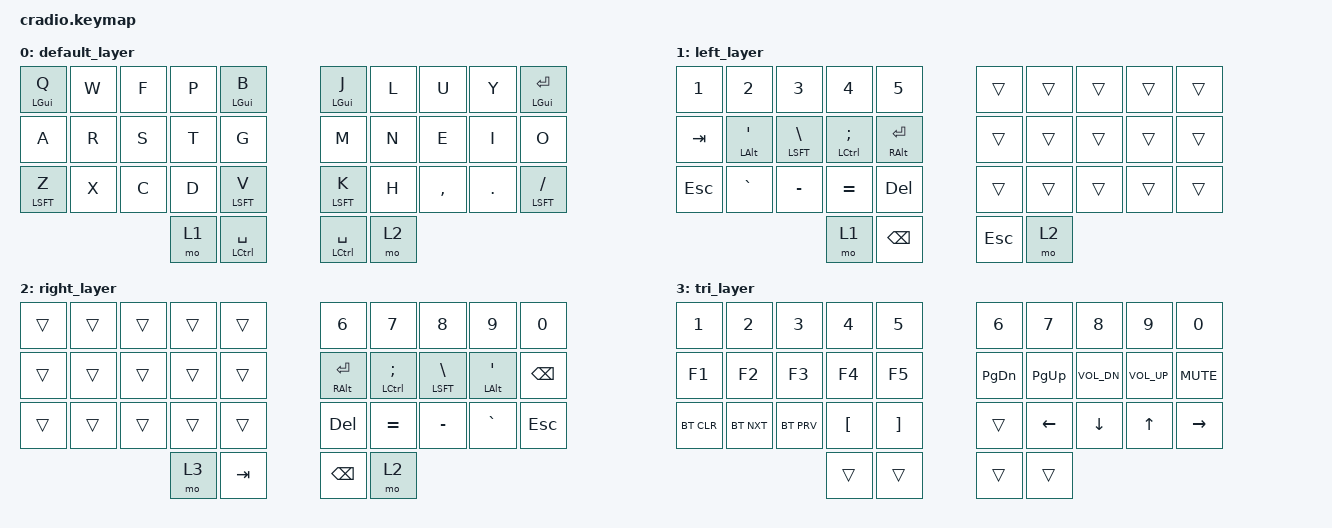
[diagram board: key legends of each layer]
/*
 * Copyright (c) 2020 The ZMK Contributors
 *
 * SPDX-License-Identifier: MIT
 */

#include <behaviors.dtsi>
#include <dt-bindings/zmk/keys.h>
#include <dt-bindings/zmk/bt.h>


&mt {
   flavor = "tap-preferred";
   tapping_term_ms = <250>;
};

/ {

    combos {
        compatible = "zmk,combos";
        combo_esc {
            timeout-ms = <50>;
            key-positions = <0 1>;
            bindings = <&kp ESC>;
        };

        combo_tab {
            timeout-ms = <50>;
            key-positions = <10 11>;
            bindings = <&kp TAB>;
        };

        combo_ralt {
            timeout-ms = <50>;
            key-positions = <17 16>;
            bindings = <&kp RALT>;
        };

        combo_lalt {
            timeout-ms = <50>;
            key-positions = <11 12>;
            bindings = <&kp LALT>;
        };

        combo_lgui {
            timeout-ms = <50>;
            key-positions = <12 13>;
            bindings = <&kp LGUI>;
        };

        combo_rgui {
            timeout-ms = <50>;
            key-positions = <17 18>;
            bindings = <&kp RGUI>;
        };

    };

        keymap {
                compatible = "zmk,keymap";

       	default_layer {
		bindings = <
		// QWERTY
		// &mt LGUI Q &kp W  &kp E  &kp R  &mt LGUI T        &mt LGUI Y &kp U   &kp I     &kp O   &mt LGUI P
		// &kp A      &kp S  &kp D  &kp F  &kp G             &kp H      &kp J   &kp K     &kp L   &kp RET
		// &mt LSFT Z &kp X  &kp C  &kp V  &mt LSFT B        &mt LSFT N &kp M   &kp CMMA  &kp DOT &mt LSFT SLASH
        //   	                      &mo 1 &mt LCTL SPC    &mt LCTL SPC &mo 2
        // COLEMAK-DH
		&mt LGUI Q &kp W  &kp F  &kp P  &mt LGUI B        &mt LGUI J &kp L   &kp U     &kp Y   &mt LGUI RET
		&kp A      &kp R  &kp S  &kp T  &kp G             &kp M      &kp N   &kp E     &kp I   &kp O
		&mt LSFT Z &kp X  &kp C  &kp D  &mt LSFT V        &mt LSFT K &kp H   &kp CMMA  &kp DOT &mt LSFT SLASH
          	                          &mo 1 &mt LCTL SPC    &mt LCTL SPC &mo 2
		>;
		};

       	left_layer {
		bindings = <
		&kp NUM_1 &kp NUM_2    &kp NUM_3     &kp NUM_4     &kp NUM_5         &trans &trans &trans &trans &trans
		&kp TAB   &mt LALT SQT &mt LSFT BSLH &mt LCTL SEMI &mt RALT RET      &trans &trans &trans &trans &trans
		&kp ESC   &kp GRAVE    &kp MINUS     &kp EQUAL     &kp DEL           &trans &trans &trans &trans &trans
			                                            &mo 1  &kp BKSP   &kp ESC   &mo 2
		>;
		};


		right_layer {
		bindings = <
		&trans &trans &trans &trans &trans         &kp NUM_6    &kp NUM_7      &kp NUM_8      &kp NUM_9     &kp NUM_0
		&trans &trans &trans &trans &trans         &mt RALT RET &mt LCTL SEMI  &mt LSFT BSLH  &mt LALT SQT  &kp BKSP
		&trans &trans &trans &trans &trans         &kp DEL      &kp EQUAL      &kp MINUS      &kp GRAVE     &kp ESC
					             &mo 3 &kp TAB   &kp BKSP &mo 2
		>;
		};

		tri_layer {
		bindings = <
		&kp NUM_1  &kp NUM_2  &kp NUM_3  &kp NUM_4 &kp NUM_5	   &kp NUM_6 &kp NUM_7 &kp NUM_8    &kp NUM_9    &kp NUM_0
		&kp F1     &kp F2     &kp F3     &kp F4    &kp F5          &kp PG_DN &kp PG_UP &kp K_VOL_DN &kp K_VOL_UP &kp K_MUTE
		&bt BT_CLR &bt BT_NXT &bt BT_PRV &kp LBKT  &kp RBKT        &trans    &kp LEFT  &kp DOWN     &kp UP       &kp RIGHT
					                            &trans &trans    &trans &trans
		>;
		};

	};
};
